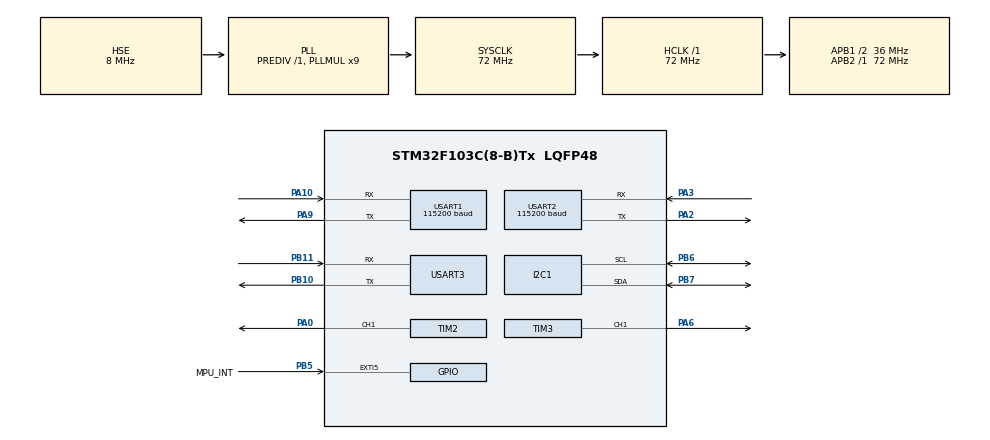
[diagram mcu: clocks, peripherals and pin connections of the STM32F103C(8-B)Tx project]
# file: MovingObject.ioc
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Dma.Request0=USART1_RX
Dma.Request1=USART2_RX
Dma.Request2=USART3_RX
Dma.USART1_RX.0.Direction=DMA_PERIPH_TO_MEMORY
Dma.USART1_RX.0.Instance=DMA1_Channel5
Dma.USART1_RX.0.MemDataAlignment=DMA_MDATAALIGN_BYTE
Dma.USART1_RX.0.MemInc=DMA_MINC_ENABLE
Dma.USART1_RX.0.Mode=DMA_NORMAL
Dma.USART1_RX.0.PeriphDataAlignment=DMA_PDATAALIGN_BYTE
Dma.USART1_RX.0.PeriphInc=DMA_PINC_DISABLE
Dma.USART1_RX.0.Priority=DMA_PRIORITY_LOW
Dma.USART2_RX.1.Direction=DMA_PERIPH_TO_MEMORY
Dma.USART2_RX.1.Instance=DMA1_Channel6
Dma.USART2_RX.1.MemDataAlignment=DMA_MDATAALIGN_BYTE
Dma.USART2_RX.1.MemInc=DMA_MINC_ENABLE
Dma.USART2_RX.1.Mode=DMA_NORMAL
Dma.USART2_RX.1.PeriphDataAlignment=DMA_PDATAALIGN_BYTE
Dma.USART2_RX.1.PeriphInc=DMA_PINC_DISABLE
Dma.USART2_RX.1.Priority=DMA_PRIORITY_LOW
Dma.USART3_RX.2.Direction=DMA_PERIPH_TO_MEMORY
Dma.USART3_RX.2.Instance=DMA1_Channel3
Dma.USART3_RX.2.MemDataAlignment=DMA_MDATAALIGN_BYTE
Dma.USART3_RX.2.MemInc=DMA_MINC_ENABLE
Dma.USART3_RX.2.Mode=DMA_NORMAL
Dma.USART3_RX.2.PeriphDataAlignment=DMA_PDATAALIGN_BYTE
Dma.USART3_RX.2.PeriphInc=DMA_PINC_DISABLE
Dma.USART3_RX.2.Priority=DMA_PRIORITY_LOW
Mcu.Family=STM32F1
Mcu.Name=STM32F103C(8-B)Tx
Mcu.Package=LQFP48
NVIC.DMA1_Channel3_IRQn=true\:0\:0\:false\:false\:true\:false\:true\:true
NVIC.DMA1_Channel5_IRQn=true\:0\:0\:false\:false\:true\:false\:true\:true
NVIC.DMA1_Channel6_IRQn=true\:0\:0\:false\:false\:true\:false\:true\:true
NVIC.EXTI9_5_IRQn=true\:0\:0\:false\:false\:true\:true\:true\:true
NVIC.PriorityGroup=NVIC_PRIORITYGROUP_4
NVIC.USART1_IRQn=true\:0\:0\:false\:false\:true\:true\:true\:true
NVIC.USART2_IRQn=true\:0\:0\:false\:false\:true\:true\:true\:true
NVIC.USART3_IRQn=true\:0\:0\:false\:false\:true\:true\:true\:true
PA0-WKUP.Signal=S_TIM2_CH1_ETR
PA10.Mode=Asynchronous
PA10.Signal=USART1_RX
PA13.Mode=Serial_Wire
PA13.Signal=SYS_JTMS-SWDIO
PA14.Mode=Serial_Wire
PA14.Signal=SYS_JTCK-SWCLK
PA2.Mode=Asynchronous
PA2.Signal=USART2_TX
PA3.Mode=Asynchronous
PA3.Signal=USART2_RX
PA6.Signal=S_TIM3_CH1
PA9.Mode=Asynchronous
PA9.Signal=USART1_TX
PB10.Mode=Asynchronous
PB10.Signal=USART3_TX
PB11.Mode=Asynchronous
PB11.Signal=USART3_RX
PB5.GPIO_Label=MPU_INT
PB5.GPIO_ModeDefaultEXTI=GPIO_MODE_IT_FALLING
PB5.Signal=GPXTI5
PB6.Mode=I2C
PB6.Signal=I2C1_SCL
PB7.Mode=I2C
PB7.Signal=I2C1_SDA
PC14-OSC32_IN.Mode=LSE-External-Oscillator
PC14-OSC32_IN.Signal=RCC_OSC32_IN
PC15-OSC32_OUT.Mode=LSE-External-Oscillator
PC15-OSC32_OUT.Signal=RCC_OSC32_OUT
PD0-OSC_IN.Mode=HSE-External-Oscillator
PD0-OSC_IN.Signal=RCC_OSC_IN
PD1-OSC_OUT.Mode=HSE-External-Oscillator
PD1-OSC_OUT.Signal=RCC_OSC_OUT
ProjectManager.HeapSize=0x200
ProjectManager.StackSize=0x400
ProjectManager.TargetToolchain=MDK-ARM V5.32
RCC.AHBFreq_Value=72000000
RCC.APB1CLKDivider=RCC_HCLK_DIV2
RCC.APB1Freq_Value=36000000
RCC.APB1TimFreq_Value=72000000
RCC.APB2Freq_Value=72000000
RCC.APB2TimFreq_Value=72000000
RCC.HCLKFreq_Value=72000000
RCC.PLLMUL=RCC_PLL_MUL9
RCC.PLLSourceVirtual=RCC_PLLSOURCE_HSE
RCC.SYSCLKFreq_VALUE=72000000
RCC.SYSCLKSource=RCC_SYSCLKSOURCE_PLLCLK
RCC.USBFreq_Value=72000000
SH.S_TIM2_CH1_ETR.0=TIM2_CH1,PWM Generation1 CH1
SH.S_TIM3_CH1.0=TIM3_CH1,PWM Generation1 CH1
TIM2.AutoReloadPreload=TIM_AUTORELOAD_PRELOAD_ENABLE
TIM2.Channel-PWM\ Generation1\ CH1=TIM_CHANNEL_1
TIM2.Period=20000-1
TIM2.Prescaler=72-1
TIM2.Pulse-PWM\ Generation1\ CH1=1600
TIM3.AutoReloadPreload=TIM_AUTORELOAD_PRELOAD_ENABLE
TIM3.Channel-PWM\ Generation1\ CH1=TIM_CHANNEL_1
TIM3.Period=20000-1
TIM3.Prescaler=72-1
TIM3.Pulse-PWM\ Generation1\ CH1=1400
USART1.BaudRate=115200
USART1.VirtualMode=VM_ASYNC
USART2.BaudRate=115200
USART2.VirtualMode=VM_ASYNC
USART3.VirtualMode=VM_ASYNC
VP_TIM2_VS_ClockSourceINT.Mode=Internal
VP_TIM3_VS_ClockSourceINT.Mode=Internal
board=custom

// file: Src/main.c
/* USER CODE BEGIN Header */
/**
  ******************************************************************************
  * @file           : main.c
  * @brief          : Main program body
  ******************************************************************************
  * @attention
  *
  * Copyright (c) 2023 STMicroelectronics.
  * All rights reserved.
  *
  * This software is licensed under terms that can be found in the LICENSE file
  * in the root directory of this software component.
  * If no LICENSE file comes with this software, it is provided AS-IS.
  *
  ******************************************************************************
  */
/* USER CODE END Header */
#include "main.h"
#include "dma.h"
#include "i2c.h"
#include "tim.h"
#include "usart.h"
#include "gpio.h"

/* USER CODE BEGIN Includes */
//#include "task.h"
#include "motor.h"
#include "pid.h"
#include "mpu6050.h"
#include "servo.h"
#include "telecontrols.h"
#include "filter.h"
#include <stdio.h>
#include <string.h>
#include <math.h>
/* USER CODE END Includes */

/* USER CODE BEGIN PV */
uint8_t status = 0;
/* USER CODE END PV */

void SystemClock_Config(void);

/* USER CODE BEGIN 0 */
int value = 0;
uint16_t left_value = 0;
uint16_t right_value = 0;
/* USER CODE END 0 */

int main(void)
{
  /* USER CODE BEGIN 1 */
 	int i = 0;
  /* USER CODE END 1 */

  /* MCU Configuration--------------------------------------------------------*/

  /* Reset of all peripherals, Initializes the Flash interface and the Systick. */
  HAL_Init();

  /* Configure the system clock */
  SystemClock_Config();

  /* Initialize all configured peripherals */
  MX_GPIO_Init();
  MX_DMA_Init();
  MX_USART1_UART_Init();
  MX_USART2_UART_Init();
  MX_TIM2_Init();
  MX_USART3_UART_Init();
  MX_I2C1_Init();
  MX_TIM3_Init();
  /* USER CODE BEGIN 2 */
	servo_init(&htim2, TIM_CHANNEL_1, &htim3, TIM_CHANNEL_1);
	set_pwm_value(1600, 1400);

	#if 0
	telecontrols_init();
	while(1){
			left_value = 1500 - (telecontrols.myData.x_data - 127) * 2;
			right_value = 1500 + (telecontrols.myData.x_data - 127) * 2;
			set_pwm_value(left_value, right_value);
			HAL_Delay(100);
	}
	#endif

	motor_init();
	telecontrols_init();

	while(w_mpu_init() != mpu_ok)
	{
		printf("0x%x (ID_ERROR)\r\n", w_mpu_init());
		HAL_Delay(500);
	}
	dmp_init();
  /* USER CODE END 2 */

  /* Infinite loop */
  /* USER CODE BEGIN WHILE */
  while (1)
  {
		if(status == 1){
			if(telecontrols.myData.sys_status == JUMP && telecontrols.myData.key_status == 1){
				servo_jump();
				telecontrols.myData.key_status = 0;
			}
			pid_handle();
			if(telecontrols.myData.sys_status == RISER){
				value = ((int)telecontrols.myData.z_data - 127) * 2;
				left_value = 1600 - value;
				right_value = 1400 + value;
				set_pwm_value(left_value, right_value);
			}
			status = 0;
		}
    /* USER CODE END WHILE */

  }
}

void SystemClock_Config(void)
{
  RCC_OscInitTypeDef RCC_OscInitStruct = {0};
  RCC_ClkInitTypeDef RCC_ClkInitStruct = {0};

  /** Initializes the RCC Oscillators according to the specified parameters
  * in the RCC_OscInitTypeDef structure.
  */
  RCC_OscInitStruct.OscillatorType = RCC_OSCILLATORTYPE_HSE;
  RCC_OscInitStruct.HSEState = RCC_HSE_ON;
  RCC_OscInitStruct.HSEPredivValue = RCC_HSE_PREDIV_DIV1;
  RCC_OscInitStruct.HSIState = RCC_HSI_ON;
  RCC_OscInitStruct.PLL.PLLState = RCC_PLL_ON;
  RCC_OscInitStruct.PLL.PLLSource = RCC_PLLSOURCE_HSE;
  RCC_OscInitStruct.PLL.PLLMUL = RCC_PLL_MUL9;
  if (HAL_RCC_OscConfig(&RCC_OscInitStruct) != HAL_OK)
  {
    Error_Handler();
  }

  /** Initializes the CPU, AHB and APB buses clocks
  */
  RCC_ClkInitStruct.ClockType = RCC_CLOCKTYPE_HCLK|RCC_CLOCKTYPE_SYSCLK
                              |RCC_CLOCKTYPE_PCLK1|RCC_CLOCKTYPE_PCLK2;
  RCC_ClkInitStruct.SYSCLKSource = RCC_SYSCLKSOURCE_PLLCLK;
  RCC_ClkInitStruct.AHBCLKDivider = RCC_SYSCLK_DIV1;
  RCC_ClkInitStruct.APB1CLKDivider = RCC_HCLK_DIV2;
  RCC_ClkInitStruct.APB2CLKDivider = RCC_HCLK_DIV1;

  if (HAL_RCC_ClockConfig(&RCC_ClkInitStruct, FLASH_LATENCY_2) != HAL_OK)
  {
    Error_Handler();
  }
}

void Error_Handler(void)
{
  __disable_irq();
  while (1)
  {
  }
}
